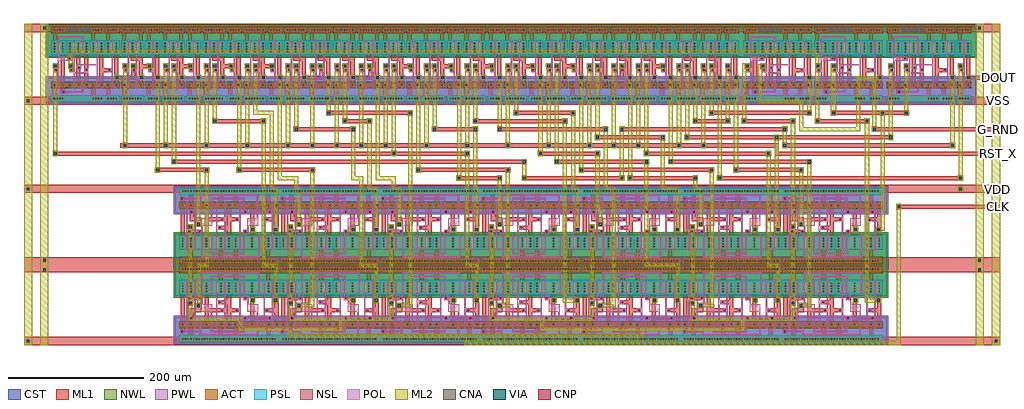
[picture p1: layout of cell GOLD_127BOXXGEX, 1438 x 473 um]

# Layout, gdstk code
from math import pi, radians
import gdstk
lib = gdstk.Library(unit=1e-6, precision=1e-09)
def R(c, l, rs):  # rectangles x0, y0, x1, y1
    for r in rs: c.add(gdstk.rectangle(r[:2], r[2:], *l))
def A(c, l, x, y, w, h, nx, ny, dx, dy):  # array of equal rectangles
    R(c, l, [(x+i*dx, y+j*dy, x+i*dx+w, y+j*dy+h) for i in range(nx) for j in range(ny)])
NWL = (1, 0)
PWL = (2, 0)
CST = (3, 0)
ACT = (4, 0)
POL = (7, 0)
NSL = (8, 0)
PSL = (9, 0)
CNA = (10, 0)
CNP = (11, 0)
ML1 = (12, 0)
VIA = (13, 0)
ML2 = (14, 0)

m2_m1 = lib.new_cell('M2_M1')
R(m2_m1, ML1, [(-4,-4,4,4), (-4,-4,4,4)])
R(m2_m1, VIA, [(-2,-2,2,2), (-2,-2,2,2)])
R(m2_m1, ML2, [(-4,-4,4,4), (-4,-4,4,4)])

xor2_v2xgex = lib.new_cell('XOR2_V2XGEX')
R(xor2_v2xgex, NWL, [(-9,69,59,118), (-9,69,59,118), (53,69,81,118), (53,69,81,118), (75,69,108,118), (75,69,108,118)])
R(xor2_v2xgex, PWL, [(-9,1,59,42), (-9,1,59,42), (53,1,81,42), (53,1,81,42), (75,1,108,42), (75,1,108,42)])
R(xor2_v2xgex, CST, [(-7,3,57,40), (-7,3,57,40), (55,3,79,40), (55,3,79,40), (77,3,106,40), (77,3,106,40), (-7,71,57,116), (-7,71,57,116), (55,71,79,116), (55,71,79,116), (77,71,106,116), (77,71,106,116)])
R(xor2_v2xgex, ACT, [(1,6,19,12), (1,6,19,12), (58,6,76,12), (58,6,76,12), (80,6,98,12), (80,6,98,12), (1,26,19,32), (1,26,19,32), (24,26,54,32), (24,26,54,32), (58,26,76,32), (58,26,76,32), (80,26,98,32), (80,26,98,32), (1,75,19,93), (1,75,19,93), (24,75,54,93), (24,75,54,93), (58,75,76,93), (58,75,76,93), (80,75,98,93), (80,75,98,93), (1,107,19,113), (1,107,19,113), (58,107,76,113), (58,107,76,113), (80,107,98,113), (80,107,98,113)])
R(xor2_v2xgex, POL, [(14,16,20,22), (14,16,20,22), (20,18,45,20), (20,18,45,20), (44,18,46,24), (44,18,46,24), (9,23,11,97), (9,23,11,97), (32,23,34,96), (32,23,34,96), (66,23,68,96), (66,23,68,96), (88,23,90,96), (88,23,90,96), (44,24,46,36), (44,24,46,36), (34,46,54,48), (34,46,54,48), (3,48,9,54), (3,48,9,54), (26,48,32,54), (26,48,32,54), (48,48,54,54), (48,48,54,54), (82,48,88,54), (82,48,88,54), (37,52,43,58), (37,52,43,58), (37,58,67,60), (37,58,67,60), (11,65,23,71), (11,65,23,71), (23,65,29,71), (23,65,29,71), (44,72,46,95), (44,72,46,95), (44,95,46,99), (44,95,46,99), (9,97,11,99), (9,97,11,99), (9,99,46,101), (9,99,46,101)])
R(xor2_v2xgex, NSL, [(-1,24,56,34), (-1,24,56,34), (56,24,78,34), (56,24,78,34), (78,24,100,34), (78,24,100,34), (-1,105,56,115), (-1,105,56,115), (56,105,78,115), (56,105,78,115), (78,105,100,115), (78,105,100,115)])
R(xor2_v2xgex, PSL, [(-1,4,56,14), (-1,4,56,14), (56,4,78,14), (56,4,78,14), (78,4,100,14), (78,4,100,14), (-1,73,56,95), (-1,73,56,95), (56,73,78,95), (56,73,78,95), (78,73,100,95), (78,73,100,95)])
R(xor2_v2xgex, CNA, [(3,8,5,10), (3,8,5,10), (7,8,9,10), (7,8,9,10), (11,8,13,10), (11,8,13,10), (15,8,17,10), (15,8,17,10), (60,8,62,10), (60,8,62,10), (64,8,66,10), (64,8,66,10), (68,8,70,10), (68,8,70,10), (72,8,74,10), (72,8,74,10), (82,8,84,10), (82,8,84,10), (86,8,88,10), (86,8,88,10), (90,8,92,10), (90,8,92,10), (94,8,96,10), (94,8,96,10), (3,28,5,30), (3,28,5,30), (15,28,17,30), (15,28,17,30), (26,28,28,30), (26,28,28,30), (38,28,40,30), (38,28,40,30), (50,28,52,30), (50,28,52,30), (60,28,62,30), (60,28,62,30), (72,28,74,30), (72,28,74,30), (82,28,84,30), (82,28,84,30), (94,28,96,30), (94,28,96,30), (3,77,5,79), (3,77,5,79), (15,77,17,79), (15,77,17,79), (26,77,28,79), (26,77,28,79), (38,77,40,79), (38,77,40,79), (50,77,52,79), (50,77,52,79), (60,77,62,79), (60,77,62,79), (72,77,74,79), (72,77,74,79), (82,77,84,79), (82,77,84,79), (94,77,96,79), (94,77,96,79), (3,81,5,83), (3,81,5,83), (15,81,17,83), (15,81,17,83), (26,81,28,83), (26,81,28,83), (38,81,40,83), (38,81,40,83), (50,81,52,83), (50,81,52,83), (60,81,62,83), (60,81,62,83), (72,81,74,83), (72,81,74,83), (82,81,84,83), (82,81,84,83), (94,81,96,83), (94,81,96,83), (3,85,5,87), (3,85,5,87), (15,85,17,87), (15,85,17,87), (26,85,28,87), (26,85,28,87), (38,85,40,87), (38,85,40,87), (50,85,52,87), (50,85,52,87), (60,85,62,87), (60,85,62,87), (72,85,74,87), (72,85,74,87), (82,85,84,87), (82,85,84,87), (94,85,96,87), (94,85,96,87), (3,89,5,91), (3,89,5,91), (15,89,17,91), (15,89,17,91), (26,89,28,91), (26,89,28,91), (38,89,40,91), (38,89,40,91), (50,89,52,91), (50,89,52,91), (60,89,62,91), (60,89,62,91), (72,89,74,91), (72,89,74,91), (82,89,84,91), (82,89,84,91), (94,89,96,91), (94,89,96,91), (3,109,5,111), (3,109,5,111), (7,109,9,111), (7,109,9,111), (11,109,13,111), (11,109,13,111), (15,109,17,111), (15,109,17,111), (60,109,62,111), (60,109,62,111), (64,109,66,111), (64,109,66,111), (68,109,70,111), (68,109,70,111), (72,109,74,111), (72,109,74,111), (82,109,84,111), (82,109,84,111), (86,109,88,111), (86,109,88,111), (90,109,92,111), (90,109,92,111), (94,109,96,111), (94,109,96,111)])
R(xor2_v2xgex, CNP, [(16,18,18,20), (16,18,18,20), (5,50,7,52), (5,50,7,52), (28,50,30,52), (28,50,30,52), (50,50,52,52), (50,50,52,52), (84,50,86,52), (84,50,86,52), (39,54,41,56), (39,54,41,56), (25,67,27,69), (25,67,27,69)])
R(xor2_v2xgex, ML1, [(-1,0,56,12), (-1,0,56,12), (56,0,78,12), (56,0,78,12), (78,0,100,12), (78,0,100,12), (1,12,7,32), (1,12,7,32), (58,12,64,32), (58,12,64,32), (80,12,86,32), (80,12,86,32), (13,16,19,26), (13,16,19,26), (14,16,20,22), (14,16,20,22), (13,26,19,93), (13,26,19,93), (19,26,30,32), (19,26,30,32), (36,26,42,93), (36,26,42,93), (48,26,54,93), (48,26,54,93), (70,26,76,93), (70,26,76,93), (92,26,98,93), (92,26,98,93), (92,36,100,44), (92,36,100,44), (3,48,9,54), (3,48,9,54), (26,48,32,54), (26,48,32,54), (48,48,54,54), (48,48,54,54), (76,48,82,54), (76,48,82,54), (82,48,88,54), (82,48,88,54), (37,52,43,58), (37,52,43,58), (1,53,9,61), (1,53,9,61), (24,53,32,61), (24,53,32,61), (23,65,29,71), (23,65,29,71), (24,65,30,93), (24,65,30,93), (1,75,7,107), (1,75,7,107), (58,75,64,107), (58,75,64,107), (80,75,86,107), (80,75,86,107), (-1,107,56,119), (-1,107,56,119), (56,107,78,119), (56,107,78,119), (78,107,100,119), (78,107,100,119)])
R(xor2_v2xgex, VIA, [(94,38,98,42), (94,38,98,42), (3,55,7,59), (3,55,7,59), (26,55,30,59), (26,55,30,59)])
R(xor2_v2xgex, ML2, [(92,36,100,44), (92,36,100,44), (1,53,9,61), (1,53,9,61), (24,53,32,61), (24,53,32,61)])
xor2_v2xgex.add(gdstk.Label('Gnd', (7,2), layer=12, texttype=0))
xor2_v2xgex.add(gdstk.Label('Vdd', (7,114), layer=12, texttype=0))
xor2_v2xgex.add(gdstk.Label('B', (26,53), layer=12, texttype=0))
xor2_v2xgex.add(gdstk.Label('Y', (93,51), layer=12, texttype=0))
xor2_v2xgex.add(gdstk.Label('A', (4,53), layer=12, texttype=0))

inv1_v2xgex = lib.new_cell('INV1_V2XGEX')
R(inv1_v2xgex, NWL, [(-8,69,30,118), (-8,69,30,118)])
R(inv1_v2xgex, PWL, [(-8,1,30,42), (-8,1,30,42)])
R(inv1_v2xgex, CST, [(-6,3,28,40), (-6,3,28,40), (-6,71,28,116), (-6,71,28,116)])
R(inv1_v2xgex, ACT, [(2,6,20,12), (2,6,20,12), (2,26,20,32), (2,26,20,32), (2,75,20,93), (2,75,20,93), (2,107,20,113), (2,107,20,113)])
R(inv1_v2xgex, POL, [(10,23,12,96), (10,23,12,96), (4,48,10,54), (4,48,10,54)])
R(inv1_v2xgex, NSL, [(0,24,22,34), (0,24,22,34), (0,105,22,115), (0,105,22,115)])
R(inv1_v2xgex, PSL, [(0,4,22,14), (0,4,22,14), (0,73,22,95), (0,73,22,95)])
R(inv1_v2xgex, CNA, [(4,8,6,10), (4,8,6,10), (8,8,10,10), (8,8,10,10), (12,8,14,10), (12,8,14,10), (16,8,18,10), (16,8,18,10), (4,28,6,30), (4,28,6,30), (16,28,18,30), (16,28,18,30), (4,77,6,79), (4,77,6,79), (16,77,18,79), (16,77,18,79), (4,81,6,83), (4,81,6,83), (16,81,18,83), (16,81,18,83), (4,85,6,87), (4,85,6,87), (16,85,18,87), (16,85,18,87), (4,89,6,91), (4,89,6,91), (16,89,18,91), (16,89,18,91), (4,109,6,111), (4,109,6,111), (8,109,10,111), (8,109,10,111), (12,109,14,111), (12,109,14,111), (16,109,18,111), (16,109,18,111)])
R(inv1_v2xgex, CNP, [(6,50,8,52), (6,50,8,52)])
R(inv1_v2xgex, ML1, [(0,0,22,12), (0,0,22,12), (2,12,8,32), (2,12,8,32), (14,26,20,93), (14,26,20,93), (14,36,22,44), (14,36,22,44), (4,48,10,54), (4,48,10,54), (2,53,10,61), (2,53,10,61), (2,75,8,107), (2,75,8,107), (0,107,22,119), (0,107,22,119)])
R(inv1_v2xgex, VIA, [(16,38,20,42), (16,38,20,42), (4,55,8,59), (4,55,8,59)])
R(inv1_v2xgex, ML2, [(14,36,22,44), (14,36,22,44), (2,53,10,61), (2,53,10,61)])
inv1_v2xgex.add(gdstk.Label('A', (5,53), layer=12, texttype=0))
inv1_v2xgex.add(gdstk.Label('Y', (15,51), layer=12, texttype=0))
inv1_v2xgex.add(gdstk.Label('Gnd', (7,2), layer=12, texttype=0))
inv1_v2xgex.add(gdstk.Label('Vdd', (7,114), layer=12, texttype=0))

dff_v2xgex = lib.new_cell('DFF_V2XGEX')
R(dff_v2xgex, NWL, [(-8,70,156,120), (-8,70,156,120)])
R(dff_v2xgex, PWL, [(-8,1,156,43), (-8,1,156,43)])
R(dff_v2xgex, CST, [(-6,3,154,41), (-6,3,154,41), (-6,72,154,118), (-6,72,154,118)])
R(dff_v2xgex, ACT, [(2,6,146,12), (2,6,146,12), (2,27,76,33), (2,27,76,33), (80,27,146,33), (80,27,146,33), (2,76,76,94), (2,76,76,94), (80,76,146,94), (80,76,146,94), (2,109,146,115), (2,109,146,115)])
R(dff_v2xgex, POL, [(30,14,32,19), (30,14,32,19), (32,14,114,16), (32,14,114,16), (114,14,116,25), (114,14,116,25), (1,17,7,23), (1,17,7,23), (2,19,30,21), (2,19,30,21), (30,19,32,36), (30,19,32,36), (46,19,48,49), (46,19,48,49), (48,19,94,21), (48,19,94,21), (94,19,96,25), (94,19,96,25), (10,24,12,97), (10,24,12,97), (22,24,24,97), (22,24,24,97), (54,24,56,97), (54,24,56,97), (66,24,68,97), (66,24,68,97), (88,24,90,97), (88,24,90,97), (124,24,126,97), (124,24,126,97), (136,24,138,97), (136,24,138,97), (94,25,96,37), (94,25,96,37), (114,25,116,49), (114,25,116,49), (15,37,21,43), (15,37,21,43), (21,37,22,43), (21,37,22,43), (94,37,100,43), (94,37,100,43), (130,37,136,43), (130,37,136,43), (60,48,66,54), (60,48,66,54), (82,48,88,54), (82,48,88,54), (126,48,132,54), (126,48,132,54), (32,49,48,60), (32,49,48,60), (100,49,116,60), (100,49,116,60), (32,60,34,105), (32,60,34,105), (55,60,57,66), (55,60,57,66), (57,60,63,66), (57,60,63,66), (100,60,102,72), (100,60,102,72), (12,66,18,72), (12,66,18,72), (27,66,33,72), (27,66,33,72), (94,66,100,72), (94,66,100,72), (94,72,96,96), (94,72,96,96), (46,73,48,102), (46,73,48,102), (116,73,118,107), (116,73,118,107), (94,96,96,102), (94,96,96,102), (48,100,94,102), (48,100,94,102), (32,105,116,107), (32,105,116,107)])
R(dff_v2xgex, NSL, [(0,25,148,35), (0,25,148,35), (0,106,148,117), (0,106,148,117)])
R(dff_v2xgex, PSL, [(0,4,148,15), (0,4,148,15), (0,74,148,96), (0,74,148,96)])
R(dff_v2xgex, CNA, [(4,8,6,10), (4,8,6,10), (8,8,10,10), (8,8,10,10), (12,8,14,10), (12,8,14,10), (16,8,18,10), (16,8,18,10), (20,8,22,10), (20,8,22,10), (24,8,26,10), (24,8,26,10), (28,8,30,10), (28,8,30,10), (32,8,34,10), (32,8,34,10), (36,8,38,10), (36,8,38,10), (40,8,42,10), (40,8,42,10), (44,8,46,10), (44,8,46,10), (48,8,50,10), (48,8,50,10), (52,8,54,10), (52,8,54,10), (56,8,58,10), (56,8,58,10), (60,8,62,10), (60,8,62,10), (64,8,66,10), (64,8,66,10), (68,8,70,10), (68,8,70,10), (72,8,74,10), (72,8,74,10), (76,8,78,10), (76,8,78,10), (80,8,82,10), (80,8,82,10), (84,8,86,10), (84,8,86,10), (88,8,90,10), (88,8,90,10), (92,8,94,10), (92,8,94,10), (96,8,98,10), (96,8,98,10), (100,8,102,10), (100,8,102,10), (104,8,106,10), (104,8,106,10), (108,8,110,10), (108,8,110,10), (112,8,114,10), (112,8,114,10), (116,8,118,10), (116,8,118,10), (120,8,122,10), (120,8,122,10), (124,8,126,10), (124,8,126,10), (128,8,130,10), (128,8,130,10), (132,8,134,10), (132,8,134,10), (136,8,138,10), (136,8,138,10), (140,8,142,10), (140,8,142,10), (4,29,6,31), (4,29,6,31), (16,29,18,31), (16,29,18,31), (39,29,41,31), (39,29,41,31), (60,29,62,31), (60,29,62,31), (72,29,74,31), (72,29,74,31), (82,29,84,31), (82,29,84,31), (106,29,108,31), (106,29,108,31), (130,29,132,31), (130,29,132,31), (142,29,144,31), (142,29,144,31), (4,78,6,80), (4,78,6,80), (16,78,18,80), (16,78,18,80), (39,78,41,80), (39,78,41,80), (60,78,62,80), (60,78,62,80), (72,78,74,80), (72,78,74,80), (82,78,84,80), (82,78,84,80), (106,78,108,80), (106,78,108,80), (130,78,132,80), (130,78,132,80), (142,78,144,80), (142,78,144,80), (4,82,6,84), (4,82,6,84), (16,82,18,84), (16,82,18,84), (39,82,41,84), (39,82,41,84), (60,82,62,84), (60,82,62,84), (72,82,74,84), (72,82,74,84), (82,82,84,84), (82,82,84,84), (106,82,108,84), (106,82,108,84), (130,82,132,84), (130,82,132,84), (142,82,144,84), (142,82,144,84), (4,86,6,88), (4,86,6,88), (16,86,18,88), (16,86,18,88), (39,86,41,88), (39,86,41,88), (60,86,62,88), (60,86,62,88), (72,86,74,88), (72,86,74,88), (82,86,84,88), (82,86,84,88), (106,86,108,88), (106,86,108,88), (130,86,132,88), (130,86,132,88), (142,86,144,88), (142,86,144,88), (4,90,6,92), (4,90,6,92), (16,90,18,92), (16,90,18,92), (39,90,41,92), (39,90,41,92), (60,90,62,92), (60,90,62,92), (72,90,74,92), (72,90,74,92), (82,90,84,92), (82,90,84,92), (106,90,108,92), (106,90,108,92), (130,90,132,92), (130,90,132,92), (142,90,144,92), (142,90,144,92), (4,111,6,113), (4,111,6,113), (8,111,10,113), (8,111,10,113), (12,111,14,113), (12,111,14,113), (16,111,18,113), (16,111,18,113), (20,111,22,113), (20,111,22,113), (24,111,26,113), (24,111,26,113), (28,111,30,113), (28,111,30,113), (32,111,34,113), (32,111,34,113), (36,111,38,113), (36,111,38,113), (40,111,42,113), (40,111,42,113), (44,111,46,113), (44,111,46,113), (48,111,50,113), (48,111,50,113), (52,111,54,113), (52,111,54,113), (56,111,58,113), (56,111,58,113), (60,111,62,113), (60,111,62,113), (64,111,66,113), (64,111,66,113), (68,111,70,113), (68,111,70,113), (72,111,74,113), (72,111,74,113), (76,111,78,113), (76,111,78,113), (80,111,82,113), (80,111,82,113), (84,111,86,113), (84,111,86,113), (88,111,90,113), (88,111,90,113), (92,111,94,113), (92,111,94,113), (96,111,98,113), (96,111,98,113), (100,111,102,113), (100,111,102,113), (104,111,106,113), (104,111,106,113), (108,111,110,113), (108,111,110,113), (112,111,114,113), (112,111,114,113), (116,111,118,113), (116,111,118,113), (120,111,122,113), (120,111,122,113), (124,111,126,113), (124,111,126,113), (128,111,130,113), (128,111,130,113), (132,111,134,113), (132,111,134,113), (136,111,138,113), (136,111,138,113), (140,111,142,113), (140,111,142,113)])
R(dff_v2xgex, CNP, [(3,19,5,21), (3,19,5,21), (17,39,19,41), (17,39,19,41), (96,39,98,41), (96,39,98,41), (132,39,134,41), (132,39,134,41), (62,50,64,52), (62,50,64,52), (84,50,86,52), (84,50,86,52), (128,50,130,52), (128,50,130,52), (59,62,61,64), (59,62,61,64), (14,68,16,70), (14,68,16,70), (29,68,31,70), (29,68,31,70), (96,68,98,70), (96,68,98,70)])
R(dff_v2xgex, ML1, [(0,0,148,12), (0,0,148,12), (58,6,64,33), (58,6,64,33), (80,6,86,33), (80,6,86,33), (128,6,134,33), (128,6,134,33), (14,12,20,33), (14,12,20,33), (1,17,7,23), (1,17,7,23), (2,17,8,27), (2,17,8,27), (2,27,8,33), (2,27,8,33), (37,27,43,94), (37,27,43,94), (70,27,76,94), (70,27,76,94), (104,27,110,94), (104,27,110,94), (140,27,146,94), (140,27,146,94), (2,33,8,94), (2,33,8,94), (15,37,21,43), (15,37,21,43), (94,37,100,43), (94,37,100,43), (110,37,130,43), (110,37,130,43), (130,37,136,43), (130,37,136,43), (15,43,21,48), (15,43,21,48), (15,48,32,54), (15,48,32,54), (42,48,60,54), (42,48,60,54), (60,48,66,54), (60,48,66,54), (76,48,82,54), (76,48,82,54), (82,48,88,54), (82,48,88,54), (126,48,132,54), (126,48,132,54), (132,48,140,54), (132,48,140,54), (24,54,32,62), (24,54,32,62), (12,58,20,66), (12,58,20,66), (57,60,63,66), (57,60,63,66), (63,60,70,66), (63,60,70,66), (104,62,112,70), (104,62,112,70), (138,62,146,70), (138,62,146,70), (12,66,18,72), (12,66,18,72), (18,66,27,72), (18,66,27,72), (27,66,33,72), (27,66,33,72), (94,66,100,72), (94,66,100,72), (14,76,20,82), (14,76,20,82), (14,76,20,115), (14,76,20,115), (58,76,64,115), (58,76,64,115), (80,76,86,115), (80,76,86,115), (128,76,134,115), (128,76,134,115), (0,109,148,121), (0,109,148,121)])
R(dff_v2xgex, VIA, [(26,56,30,60), (26,56,30,60), (14,60,18,64), (14,60,18,64), (106,64,110,68), (106,64,110,68), (140,64,144,68), (140,64,144,68)])
R(dff_v2xgex, ML2, [(24,54,32,62), (24,54,32,62), (12,58,20,66), (12,58,20,66), (104,62,112,70), (104,62,112,70), (138,62,146,70), (138,62,146,70)])

nand2_v2xgex = lib.new_cell('NAND2_V2XGEX')
R(nand2_v2xgex, NWL, [(-8,69,42,118), (-8,69,42,118)])
R(nand2_v2xgex, PWL, [(-8,1,42,42), (-8,1,42,42)])
R(nand2_v2xgex, CST, [(-6,3,40,40), (-6,3,40,40), (-6,71,40,116), (-6,71,40,116)])
R(nand2_v2xgex, ACT, [(2,6,32,12), (2,6,32,12), (2,26,32,32), (2,26,32,32), (2,75,32,93), (2,75,32,93), (2,107,32,113), (2,107,32,113)])
R(nand2_v2xgex, POL, [(10,23,12,96), (10,23,12,96), (22,23,24,96), (22,23,24,96), (4,48,10,54), (4,48,10,54), (16,48,22,54), (16,48,22,54)])
R(nand2_v2xgex, NSL, [(0,24,34,34), (0,24,34,34), (0,105,34,115), (0,105,34,115)])
R(nand2_v2xgex, PSL, [(0,4,34,14), (0,4,34,14), (0,73,34,95), (0,73,34,95)])
R(nand2_v2xgex, CNA, [(4,8,6,10), (4,8,6,10), (8,8,10,10), (8,8,10,10), (12,8,14,10), (12,8,14,10), (16,8,18,10), (16,8,18,10), (20,8,22,10), (20,8,22,10), (24,8,26,10), (24,8,26,10), (28,8,30,10), (28,8,30,10), (4,28,6,30), (4,28,6,30), (28,28,30,30), (28,28,30,30), (4,77,6,79), (4,77,6,79), (16,77,18,79), (16,77,18,79), (28,77,30,79), (28,77,30,79), (4,81,6,83), (4,81,6,83), (16,81,18,83), (16,81,18,83), (28,81,30,83), (28,81,30,83), (4,85,6,87), (4,85,6,87), (16,85,18,87), (16,85,18,87), (28,85,30,87), (28,85,30,87), (4,89,6,91), (4,89,6,91), (16,89,18,91), (16,89,18,91), (28,89,30,91), (28,89,30,91), (4,109,6,111), (4,109,6,111), (8,109,10,111), (8,109,10,111), (12,109,14,111), (12,109,14,111), (16,109,18,111), (16,109,18,111), (20,109,22,111), (20,109,22,111), (24,109,26,111), (24,109,26,111), (28,109,30,111), (28,109,30,111)])
R(nand2_v2xgex, CNP, [(6,50,8,52), (6,50,8,52), (18,50,20,52), (18,50,20,52)])
R(nand2_v2xgex, ML1, [(0,0,34,12), (0,0,34,12), (2,12,8,32), (2,12,8,32), (26,26,32,71), (26,26,32,71), (26,36,34,44), (26,36,34,44), (4,48,10,54), (4,48,10,54), (16,48,22,54), (16,48,22,54), (2,53,10,61), (2,53,10,61), (14,53,22,61), (14,53,22,61), (14,65,26,71), (14,65,26,71), (14,71,20,93), (14,71,20,93), (2,75,8,107), (2,75,8,107), (26,75,32,107), (26,75,32,107), (0,107,34,119), (0,107,34,119)])
R(nand2_v2xgex, VIA, [(28,38,32,42), (28,38,32,42), (4,55,8,59), (4,55,8,59), (16,55,20,59), (16,55,20,59)])
R(nand2_v2xgex, ML2, [(26,36,34,44), (26,36,34,44), (2,53,10,61), (2,53,10,61), (14,53,22,61), (14,53,22,61)])
nand2_v2xgex.add(gdstk.Label('Y', (27,51), layer=12, texttype=0))
nand2_v2xgex.add(gdstk.Label('Gnd', (7,2), layer=12, texttype=0))
nand2_v2xgex.add(gdstk.Label('Vdd', (7,114), layer=12, texttype=0))
nand2_v2xgex.add(gdstk.Label('B', (17,53), layer=12, texttype=0))
nand2_v2xgex.add(gdstk.Label('A', (5,53), layer=12, texttype=0))

gold_127boxxgex = lib.new_cell('GOLD_127BOXXGEX')
A(gold_127boxxgex, ML1, 169, 408, 19, 6, 3, 1, 60, 0)
A(gold_127boxxgex, ML1, 553, 408, 19, 6, 5, 1, 60, 0)
R(gold_127boxxgex, ML1, [(0,0,235,12), (1254,0,1438,12), (0,107,243,129), (1251,107,1438,129), (1286,201,1438,207), (0,224,235,236), (1245,224,1438,236), (638,243,704,249), (734,243,884,249), (890,243,992,249), (1022,243,1383,249), (194,255,272,261), (314,255,428,261), (578,255,716,261), (818,255,1016,261), (1046,255,1148,261), (218,267,740,273), (782,267,920,273), (950,267,1160,273), (43,279,656,285), (758,279,848,285), (914,279,1100,285), (1106,279,1112,297), (1106,279,1438,285), (142,291,1004,297), (998,291,1112,297), (1118,291,1371,297), (842,303,944,309), (974,303,1112,309), (1106,303,1280,309), (398,315,488,321), (602,315,668,321), (698,315,860,321), (878,315,1124,321), (1250,315,1438,321), (278,327,356,333), (470,327,512,333), (662,327,800,333), (986,327,1040,333), (1058,327,1136,333), (1166,327,1245,333), (446,339,572,345), (722,339,812,345), (1010,339,1160,345), (1190,339,1303,345), (0,354,46,366), (40,354,1396,366), (1390,354,1438,366), (134,391,164,397), (158,391,164,414), (410,391,441,397), (435,391,441,408), (482,391,513,397), (507,391,513,408), (854,391,884,397), (878,391,884,414), (1389,391,1438,397), (350,408,368,414), (925,408,944,414), (0,461,46,473), (40,461,1396,473), (1390,461,1438,473)])
A(gold_127boxxgex, ML2, 464, 20, 6, 21, 3, 1, 296, 0)
A(gold_127boxxgex, ML2, 390, 35, 154, 6, 3, 1, 296, 0)
A(gold_127boxxgex, ML2, 242, 38, 6, 138, 6, 1, 148, 0)
A(gold_127boxxgex, ML2, 516, 171, 6, 62, 4, 1, 148, 0)
A(gold_127boxxgex, ML2, 590, 291, 6, 123, 3, 1, 120, 0)
A(gold_127boxxgex, ML2, 422, 294, 6, 117, 4, 1, 36, 0)
A(gold_127boxxgex, ML2, 770, 294, 6, 117, 3, 1, 96, 0)
A(gold_127boxxgex, ML2, 278, 327, 6, 87, 3, 1, 192, 0)
R(gold_127boxxgex, ML2, [(0,0,12,473), (24,0,36,473), (649,0,655,16), (649,0,1292,6), (1286,0,1292,207), (1402,0,1414,473), (1426,0,1438,473), (390,10,396,26), (390,10,914,16), (908,10,914,26), (316,20,322,41), (316,20,470,26), (760,20,1062,26), (242,35,322,41), (1130,38,1136,330), (255,54,261,121), (402,56,428,62), (422,56,428,261), (553,56,572,62), (566,56,572,342), (701,56,716,62), (710,56,716,258), (846,56,872,62), (866,56,872,233), (994,56,1016,62), (1010,56,1016,261), (1142,56,1160,62), (1154,56,1160,273), (516,62,522,120), (664,62,670,120), (794,62,818,68), (794,62,800,333), (960,62,966,121), (1239,62,1263,68), (1239,62,1245,333), (368,65,374,120), (1108,65,1114,120), (350,114,374,120), (350,114,356,330), (494,114,500,249), (494,114,522,120), (650,114,670,120), (650,114,656,285), (1094,114,1114,120), (1094,114,1100,282), (255,115,272,121), (266,115,272,261), (914,115,920,273), (914,115,966,121), (1106,167,1112,306), (368,168,374,233), (1259,168,1268,174), (1262,168,1268,342), (846,179,852,203), (1142,179,1148,261), (254,181,260,394), (402,181,408,232), (550,182,556,233), (698,182,704,233), (994,182,1000,233), (842,197,852,203), (842,197,848,285), (398,226,408,232), (398,226,404,249), (362,227,374,233), (362,227,368,345), (506,227,512,330), (506,227,522,233), (542,227,556,233), (542,227,548,249), (662,227,670,233), (662,227,668,318), (698,227,704,246), (806,227,812,342), (806,227,818,233), (854,227,872,233), (854,227,860,321), (938,227,944,306), (938,227,966,233), (986,227,1000,233), (986,227,992,246), (374,243,404,249), (374,243,380,394), (482,243,500,249), (482,243,488,321), (518,243,548,249), (518,243,524,394), (638,243,644,397), (734,243,740,273), (878,243,884,321), (890,243,896,397), (1022,243,1028,397), (1377,246,1383,411), (194,255,200,397), (314,255,320,397), (578,255,584,397), (818,255,824,397), (1046,255,1052,397), (218,267,224,414), (782,267,788,414), (950,267,956,397), (542,279,548,414), (758,279,764,397), (914,279,920,414), (43,282,49,411), (206,291,212,414), (266,291,272,414), (386,291,392,414), (902,291,908,414), (998,291,1004,414), (1118,291,1124,321), (1365,291,1371,397), (146,294,152,411), (326,294,332,411), (650,294,656,411), (842,303,848,414), (974,303,980,414), (1274,303,1280,414), (398,315,404,414), (602,315,608,414), (698,315,704,397), (1142,315,1148,363), (1142,315,1232,321), (1226,315,1232,396), (1250,315,1256,396), (986,327,992,397), (1034,327,1040,414), (1166,327,1172,414), (1058,330,1064,415), (1189,338,1197,415), (338,339,344,414), (338,339,368,345), (446,339,452,397), (722,339,728,414), (1010,339,1016,414), (1154,339,1160,397), (1297,339,1303,414), (1082,357,1088,414), (1082,357,1148,363), (1226,390,1264,396), (1250,390,1264,396), (66,408,72,435), (1082,408,1092,414), (1166,408,1172,435), (1058,409,1066,415), (66,429,1172,435)])
gold_127boxxgex.add(gdstk.Reference(m2_m1, (1432,6)))
gold_127boxxgex.add(gdstk.Reference(m2_m1, (1432,360)))
gold_127boxxgex.add(gdstk.Reference(m2_m1, (1432,230)))
gold_127boxxgex.add(gdstk.Reference(m2_m1, (1408,111)))
gold_127boxxgex.add(gdstk.Reference(m2_m1, (1408,125)))
gold_127boxxgex.add(gdstk.Reference(m2_m1, (1408,467)))
gold_127boxxgex.add(gdstk.Reference(m2_m1, (1289,204)))
gold_127boxxgex.add(gdstk.Reference(m2_m1, (1049,258)))
gold_127boxxgex.add(gdstk.Reference(m2_m1, (1145,258)))
gold_127boxxgex.add(gdstk.Reference(m2_m1, (1037,330)))
gold_127boxxgex.add(gdstk.Reference(m2_m1, (1157,342)))
gold_127boxxgex.add(gdstk.Reference(m2_m1, (1277,306)))
gold_127boxxgex.add(gdstk.Reference(m2_m1, (1109,306)))
gold_127boxxgex.add(gdstk.Reference(m2_m1, (1253,318)))
gold_127boxxgex.add(gdstk.Reference(m2_m1, (1169,330)))
gold_127boxxgex.add(gdstk.Reference(m2_m1, (1242,330)))
gold_127boxxgex.add(gdstk.Reference(m2_m1, (1300,342)))
gold_127boxxgex.add(gdstk.Reference(m2_m1, (1380,246)))
gold_127boxxgex.add(gdstk.Reference(m2_m1, (1157,270)))
gold_127boxxgex.add(gdstk.Reference(m2_m1, (1097,282)))
gold_127boxxgex.add(gdstk.Reference(m2_m1, (1061,330)))
gold_127boxxgex.add(gdstk.Reference(m2_m1, (1193,342)))
gold_127boxxgex.add(gdstk.Reference(m2_m1, (1265,342)))
gold_127boxxgex.add(gdstk.Reference(xor2_v2xgex, (1061,354)))
gold_127boxxgex.add(gdstk.Reference(xor2_v2xgex, (1165,354)))
gold_127boxxgex.add(gdstk.Reference(xor2_v2xgex, (1272,354)))
gold_127boxxgex.add(gdstk.Reference(inv1_v2xgex, (1374,354)))
gold_127boxxgex.add(gdstk.Reference(dff_v2xgex, (1117,0)))
gold_127boxxgex.add(gdstk.Reference(dff_v2xgex, (1117,0)))
gold_127boxxgex.add(gdstk.Reference(dff_v2xgex, (1117,0)))
gold_127boxxgex.add(gdstk.Reference(dff_v2xgex, (1117,0)))
gold_127boxxgex.add(gdstk.Reference(dff_v2xgex, (1117,236), x_reflection=True))
gold_127boxxgex.add(gdstk.Reference(dff_v2xgex, (1117,236), x_reflection=True))
gold_127boxxgex.add(gdstk.Reference(dff_v2xgex, (1117,236), x_reflection=True))
gold_127boxxgex.add(gdstk.Reference(dff_v2xgex, (1117,236), x_reflection=True))
gold_127boxxgex.add(gdstk.Reference(m2_m1, (1133,330)))
gold_127boxxgex.add(gdstk.Reference(m2_m1, (1121,318)))
gold_127boxxgex.add(gdstk.Reference(m2_m1, (1121,294)))
gold_127boxxgex.add(gdstk.Reference(m2_m1, (1368,294)))
gold_127boxxgex.add(gdstk.Reference(m2_m1, (1380,230)))
gold_127boxxgex.add(gdstk.Reference(m2_m1, (569,342)))
gold_127boxxgex.add(gdstk.Reference(m2_m1, (653,282)))
gold_127boxxgex.add(gdstk.Reference(m2_m1, (545,282)))
gold_127boxxgex.add(gdstk.Reference(m2_m1, (593,294)))
gold_127boxxgex.add(gdstk.Reference(m2_m1, (713,294)))
gold_127boxxgex.add(gdstk.Reference(m2_m1, (833,294)))
gold_127boxxgex.add(gdstk.Reference(m2_m1, (965,294)))
gold_127boxxgex.add(gdstk.Reference(nand2_v2xgex, (959,354)))
gold_127boxxgex.add(gdstk.Reference(nand2_v2xgex, (827,354)))
gold_127boxxgex.add(gdstk.Reference(nand2_v2xgex, (707,354)))
gold_127boxxgex.add(gdstk.Reference(nand2_v2xgex, (587,354)))
gold_127boxxgex.add(gdstk.Reference(inv1_v2xgex, (935,354)))
gold_127boxxgex.add(gdstk.Reference(inv1_v2xgex, (743,354)))
gold_127boxxgex.add(gdstk.Reference(inv1_v2xgex, (623,354)))
gold_127boxxgex.add(gdstk.Reference(inv1_v2xgex, (563,354)))
gold_127boxxgex.add(gdstk.Reference(dff_v2xgex, (525,0)))
gold_127boxxgex.add(gdstk.Reference(dff_v2xgex, (525,0)))
gold_127boxxgex.add(gdstk.Reference(dff_v2xgex, (525,0)))
gold_127boxxgex.add(gdstk.Reference(dff_v2xgex, (525,0)))
gold_127boxxgex.add(gdstk.Reference(dff_v2xgex, (821,236), x_reflection=True))
gold_127boxxgex.add(gdstk.Reference(dff_v2xgex, (821,236), x_reflection=True))
gold_127boxxgex.add(gdstk.Reference(dff_v2xgex, (821,236), x_reflection=True))
gold_127boxxgex.add(gdstk.Reference(dff_v2xgex, (821,236), x_reflection=True))
gold_127boxxgex.add(gdstk.Reference(dff_v2xgex, (821,0)))
gold_127boxxgex.add(gdstk.Reference(dff_v2xgex, (821,0)))
gold_127boxxgex.add(gdstk.Reference(dff_v2xgex, (821,0)))
gold_127boxxgex.add(gdstk.Reference(dff_v2xgex, (821,0)))
gold_127boxxgex.add(gdstk.Reference(dff_v2xgex, (673,0)))
gold_127boxxgex.add(gdstk.Reference(dff_v2xgex, (673,0)))
gold_127boxxgex.add(gdstk.Reference(dff_v2xgex, (673,0)))
gold_127boxxgex.add(gdstk.Reference(dff_v2xgex, (673,0)))
gold_127boxxgex.add(gdstk.Reference(dff_v2xgex, (525,236), x_reflection=True))
gold_127boxxgex.add(gdstk.Reference(dff_v2xgex, (525,236), x_reflection=True))
gold_127boxxgex.add(gdstk.Reference(dff_v2xgex, (525,236), x_reflection=True))
gold_127boxxgex.add(gdstk.Reference(dff_v2xgex, (525,236), x_reflection=True))
gold_127boxxgex.add(gdstk.Reference(dff_v2xgex, (673,236), x_reflection=True))
gold_127boxxgex.add(gdstk.Reference(dff_v2xgex, (673,236), x_reflection=True))
gold_127boxxgex.add(gdstk.Reference(dff_v2xgex, (673,236), x_reflection=True))
gold_127boxxgex.add(gdstk.Reference(dff_v2xgex, (673,236), x_reflection=True))
gold_127boxxgex.add(gdstk.Reference(inv1_v2xgex, (683,354)))
gold_127boxxgex.add(gdstk.Reference(inv1_v2xgex, (803,354)))
gold_127boxxgex.add(gdstk.Reference(nand2_v2xgex, (527,354)))
gold_127boxxgex.add(gdstk.Reference(nand2_v2xgex, (647,354)))
gold_127boxxgex.add(gdstk.Reference(nand2_v2xgex, (899,354)))
gold_127boxxgex.add(gdstk.Reference(nand2_v2xgex, (863,354)))
gold_127boxxgex.add(gdstk.Reference(nand2_v2xgex, (767,354)))
gold_127boxxgex.add(gdstk.Reference(m2_m1, (1001,294)))
gold_127boxxgex.add(gdstk.Reference(m2_m1, (905,294)))
gold_127boxxgex.add(gdstk.Reference(m2_m1, (869,294)))
gold_127boxxgex.add(gdstk.Reference(m2_m1, (773,294)))
gold_127boxxgex.add(gdstk.Reference(m2_m1, (653,294)))
gold_127boxxgex.add(gdstk.Reference(m2_m1, (533,294)))
gold_127boxxgex.add(gdstk.Reference(m2_m1, (581,258)))
gold_127boxxgex.add(gdstk.Reference(m2_m1, (713,258)))
gold_127boxxgex.add(gdstk.Reference(m2_m1, (701,246)))
gold_127boxxgex.add(gdstk.Reference(m2_m1, (641,246)))
gold_127boxxgex.add(gdstk.Reference(m2_m1, (665,330)))
gold_127boxxgex.add(gdstk.Reference(m2_m1, (797,330)))
gold_127boxxgex.add(gdstk.Reference(m2_m1, (701,318)))
gold_127boxxgex.add(gdstk.Reference(m2_m1, (857,318)))
gold_127boxxgex.add(gdstk.Reference(m2_m1, (725,342)))
gold_127boxxgex.add(gdstk.Reference(m2_m1, (809,342)))
gold_127boxxgex.add(gdstk.Reference(m2_m1, (761,282)))
gold_127boxxgex.add(gdstk.Reference(m2_m1, (845,282)))
gold_127boxxgex.add(gdstk.Reference(m2_m1, (785,270)))
gold_127boxxgex.add(gdstk.Reference(m2_m1, (917,270)))
gold_127boxxgex.add(gdstk.Reference(m2_m1, (821,258)))
gold_127boxxgex.add(gdstk.Reference(m2_m1, (1013,258)))
gold_127boxxgex.add(gdstk.Reference(m2_m1, (893,246)))
gold_127boxxgex.add(gdstk.Reference(m2_m1, (989,246)))
gold_127boxxgex.add(gdstk.Reference(m2_m1, (845,306)))
gold_127boxxgex.add(gdstk.Reference(m2_m1, (941,306)))
gold_127boxxgex.add(gdstk.Reference(m2_m1, (917,282)))
gold_127boxxgex.add(gdstk.Reference(m2_m1, (953,270)))
gold_127boxxgex.add(gdstk.Reference(m2_m1, (977,306)))
gold_127boxxgex.add(gdstk.Reference(m2_m1, (1013,342)))
gold_127boxxgex.add(gdstk.Reference(m2_m1, (989,330)))
gold_127boxxgex.add(gdstk.Reference(m2_m1, (605,318)))
gold_127boxxgex.add(gdstk.Reference(m2_m1, (665,318)))
gold_127boxxgex.add(gdstk.Reference(m2_m1, (737,270)))
gold_127boxxgex.add(gdstk.Reference(m2_m1, (737,246)))
gold_127boxxgex.add(gdstk.Reference(m2_m1, (881,246)))
gold_127boxxgex.add(gdstk.Reference(m2_m1, (881,318)))
gold_127boxxgex.add(gdstk.Reference(m2_m1, (473,330)))
gold_127boxxgex.add(gdstk.Reference(m2_m1, (449,342)))
gold_127boxxgex.add(gdstk.Reference(m2_m1, (425,258)))
gold_127boxxgex.add(gdstk.Reference(m2_m1, (317,258)))
gold_127boxxgex.add(gdstk.Reference(m2_m1, (353,330)))
gold_127boxxgex.add(gdstk.Reference(m2_m1, (281,330)))
gold_127boxxgex.add(gdstk.Reference(m2_m1, (46,282)))
gold_127boxxgex.add(gdstk.Reference(m2_m1, (269,258)))
gold_127boxxgex.add(gdstk.Reference(m2_m1, (209,294)))
gold_127boxxgex.add(gdstk.Reference(m2_m1, (269,294)))
gold_127boxxgex.add(gdstk.Reference(m2_m1, (389,294)))
gold_127boxxgex.add(gdstk.Reference(nand2_v2xgex, (203,354)))
gold_127boxxgex.add(gdstk.Reference(nand2_v2xgex, (143,354)))
gold_127boxxgex.add(gdstk.Reference(nand2_v2xgex, (323,354)))
gold_127boxxgex.add(gdstk.Reference(inv1_v2xgex, (239,354)))
gold_127boxxgex.add(gdstk.Reference(dff_v2xgex, (229,236), x_reflection=True))
gold_127boxxgex.add(gdstk.Reference(dff_v2xgex, (229,236), x_reflection=True))
gold_127boxxgex.add(gdstk.Reference(dff_v2xgex, (229,236), x_reflection=True))
gold_127boxxgex.add(gdstk.Reference(dff_v2xgex, (229,236), x_reflection=True))
gold_127boxxgex.add(gdstk.Reference(dff_v2xgex, (229,0)))
gold_127boxxgex.add(gdstk.Reference(dff_v2xgex, (229,0)))
gold_127boxxgex.add(gdstk.Reference(dff_v2xgex, (229,0)))
gold_127boxxgex.add(gdstk.Reference(dff_v2xgex, (229,0)))
gold_127boxxgex.add(gdstk.Reference(inv1_v2xgex, (179,354)))
gold_127boxxgex.add(gdstk.Reference(inv1_v2xgex, (359,354)))
gold_127boxxgex.add(gdstk.Reference(inv1_v2xgex, (299,354)))
gold_127boxxgex.add(gdstk.Reference(nand2_v2xgex, (455,354)))
gold_127boxxgex.add(gdstk.Reference(nand2_v2xgex, (263,354)))
gold_127boxxgex.add(gdstk.Reference(nand2_v2xgex, (419,354)))
gold_127boxxgex.add(gdstk.Reference(xor2_v2xgex, (41,354)))
gold_127boxxgex.add(gdstk.Reference(nand2_v2xgex, (383,354)))
gold_127boxxgex.add(gdstk.Reference(m2_m1, (497,294)))
gold_127boxxgex.add(gdstk.Reference(m2_m1, (461,294)))
gold_127boxxgex.add(gdstk.Reference(m2_m1, (425,294)))
gold_127boxxgex.add(gdstk.Reference(m2_m1, (329,294)))
gold_127boxxgex.add(gdstk.Reference(m2_m1, (149,294)))
gold_127boxxgex.add(gdstk.Reference(m2_m1, (197,258)))
gold_127boxxgex.add(gdstk.Reference(m2_m1, (221,270)))
gold_127boxxgex.add(gdstk.Reference(m2_m1, (401,318)))
gold_127boxxgex.add(gdstk.Reference(m2_m1, (485,318)))
gold_127boxxgex.add(gdstk.Reference(m2_m1, (30,125), rotation=pi, x_reflection=True))
gold_127boxxgex.add(gdstk.Reference(m2_m1, (6,230), rotation=pi, x_reflection=True))
gold_127boxxgex.add(gdstk.Reference(m2_m1, (30,467), rotation=pi, x_reflection=True))
gold_127boxxgex.add(gdstk.Reference(m2_m1, (30,111), rotation=pi, x_reflection=True))
gold_127boxxgex.add(gdstk.Reference(m2_m1, (6,6), rotation=pi, x_reflection=True))
gold_127boxxgex.add(gdstk.Reference(m2_m1, (6,360), rotation=pi, x_reflection=True))
gold_127boxxgex.add(gdstk.Reference(nand2_v2xgex, (491,354)))
gold_127boxxgex.add(gdstk.Reference(dff_v2xgex, (377,0)))
gold_127boxxgex.add(gdstk.Reference(dff_v2xgex, (377,0)))
gold_127boxxgex.add(gdstk.Reference(dff_v2xgex, (377,0)))
gold_127boxxgex.add(gdstk.Reference(dff_v2xgex, (377,0)))
gold_127boxxgex.add(gdstk.Reference(dff_v2xgex, (377,236), x_reflection=True))
gold_127boxxgex.add(gdstk.Reference(dff_v2xgex, (377,236), x_reflection=True))
gold_127boxxgex.add(gdstk.Reference(dff_v2xgex, (377,236), x_reflection=True))
gold_127boxxgex.add(gdstk.Reference(dff_v2xgex, (377,236), x_reflection=True))
gold_127boxxgex.add(gdstk.Reference(m2_m1, (509,330)))
gold_127boxxgex.add(gdstk.Reference(m2_m1, (1025,246)))
gold_127boxxgex.add(gdstk.Reference(dff_v2xgex, (969,0)))
gold_127boxxgex.add(gdstk.Reference(dff_v2xgex, (969,0)))
gold_127boxxgex.add(gdstk.Reference(dff_v2xgex, (969,0)))
gold_127boxxgex.add(gdstk.Reference(dff_v2xgex, (969,0)))
gold_127boxxgex.add(gdstk.Reference(dff_v2xgex, (969,236), x_reflection=True))
gold_127boxxgex.add(gdstk.Reference(dff_v2xgex, (969,236), x_reflection=True))
gold_127boxxgex.add(gdstk.Reference(dff_v2xgex, (969,236), x_reflection=True))
gold_127boxxgex.add(gdstk.Reference(dff_v2xgex, (969,236), x_reflection=True))
gold_127boxxgex.add(gdstk.Reference(inv1_v2xgex, (1031,354)))
gold_127boxxgex.add(gdstk.Reference(nand2_v2xgex, (995,354)))
gold_127boxxgex.add(gdstk.Label('CLK', (1436,204.4), layer=12, texttype=0))
gold_127boxxgex.add(gdstk.Label('RST_X', (1436,282.2), layer=12, texttype=0))
gold_127boxxgex.add(gdstk.Label('G_RND', (1435.7,318), layer=12, texttype=0))
gold_127boxxgex.add(gdstk.Label('DOUT', (1436.2,394.3), layer=12, texttype=0))
gold_127boxxgex.add(gdstk.Label('VSS', (1435.7,360.2), layer=12, texttype=0))
gold_127boxxgex.add(gdstk.Label('VDD', (1434.8,229.4), layer=12, texttype=0))

lib.write_gds('GOLD_127BOXXGEX.gds')
